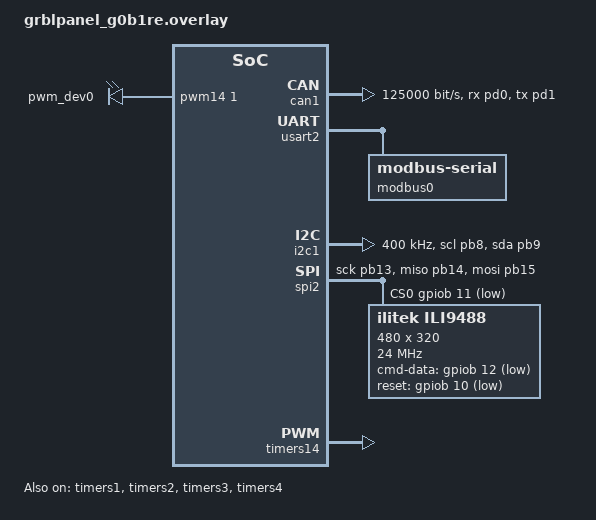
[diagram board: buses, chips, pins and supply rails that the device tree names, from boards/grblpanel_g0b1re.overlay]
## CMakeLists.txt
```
cmake_minimum_required(VERSION 3.20.0)

# Path to out-of-tree boards definitions
set (BOARD_ROOT "${CMAKE_CURRENT_SOURCE_DIR}")

# Add our custom Zephyr module for drivers w/ syscalls, etc.
list(APPEND DTS_ROOT ${CMAKE_CURRENT_SOURCE_DIR}/drivers/zephyr)

list(APPEND ZEPHYR_EXTRA_MODULES
  ${CMAKE_CURRENT_SOURCE_DIR}/drivers
)

find_package(Zephyr REQUIRED HINTS $ENV{ZEPHYR_BASE})
project(grblPANEL)

FILE(GLOB app_sources src/*.c*)
target_sources(app PRIVATE ${app_sources})
target_include_directories(app PRIVATE src)
```

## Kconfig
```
mainmenu "MYAPP"

source "Kconfig.zephyr"
config MYAPP_STM32
  default n
  bool
    select USE_STM32_LL_GPIO
    select USE_STM32_LL_TIM

#rsource "drivers/Kconfig"
```

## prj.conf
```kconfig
# Logging
CONFIG_LOG=y
CONFIG_LOG_MODE_MINIMAL=y

# floating point for axis position output
CONFIG_CBPRINTF_FP_SUPPORT=y

# i2c needed for IO expander (local driver)
CONFIG_I2C=y

# Modbus
CONFIG_SERIAL=y
CONFIG_UART_INTERRUPT_DRIVEN=y
CONFIG_MODBUS=y
CONFIG_MODBUS_ROLE_SERVER=y

# Display
CONFIG_SPI=y
CONFIG_ILI9488=y

CONFIG_DISPLAY=y
CONFIG_LVGL=y

CONFIG_LV_USE_LABEL=y
CONFIG_LV_MEM_CUSTOM=y
CONFIG_LV_USE_LOG=y
CONFIG_LV_USE_THEME_DEFAULT=y
CONFIG_LV_THEME_DEFAULT_DARK=y
CONFIG_LV_Z_MEM_POOL_NUMBER_BLOCKS=8

CONFIG_MAIN_STACK_SIZE=2048

CONFIG_PWM=y

# DMA config for SPI display
CONFIG_DMA=y
CONFIG_SPI_STM32_DMA=y
CONFIG_SPI_STM32_INTERRUPT=n
CONFIG_SPI_ASYNC=y

# Ring buffer for GPIO matrix keypad
CONFIG_RING_BUFFER=y

# Encoder support (out of tree driver)
CONFIG_SENSOR=y
CONFIG_SENSOR_LOG_LEVEL_DBG=y

CONFIG_ENCODER_STM32=y

# Produce debug builds
CONFIG_DEBUG=y
```

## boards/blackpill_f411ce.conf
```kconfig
# Uncomment below for USB CDC ACM console output on blackpill (defaults to usart1)

#CONFIG_USB_DEVICE_STACK=y
#CONFIG_USB_DEVICE_PRODUCT="Zephyr CDC ACM console"
#CONFIG_UART_INTERRUPT_DRIVEN=y
#CONFIG_UART_LINE_CTRL=y
```

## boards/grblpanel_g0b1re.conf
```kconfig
# Add USB console support
#CONFIG_USB_DEVICE_STACK=y
#CONFIG_USB_DEVICE_PRODUCT="Zephyr CDC ACM shell"
#CONFIG_UART_INTERRUPT_DRIVEN=y
#CONFIG_UART_LINE_CTRL=y

# Segger RTT console support
#CONFIG_USE_SEGGER_RTT=y
#CONFIG_RTT_CONSOLE=n
#CONFIG_UART_CONSOLE=y

#CONFIG_SHELL=y

CONFIG_CAN=y
```

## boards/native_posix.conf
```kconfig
CONFIG_LV_COLOR_DEPTH_32=y
CONFIG_GPIO=y
CONFIG_CAN=y
```

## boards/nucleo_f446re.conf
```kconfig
#CONFIG_CAN=y
#CONFIG_CAN_STM32=y
#CONFIG_CAN_INIT_PRIORITY=80
#CONFIG_CAN_MAX_FILTER=5
```

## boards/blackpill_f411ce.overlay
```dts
/*
 * Copyright (c) 2020 Phytec Messtechnik GmbH
 *
 * SPDX-License-Identifier: Apache-2.0
 */

#include <dt-bindings/display/ili9xxx.h>

&dma2 {
    status = "okay";
};

// &spi1 {
//         status = "okay";
//         cs-gpios = <&gpioa 4 GPIO_ACTIVE_LOW>;

//         dmas = <&dma2 5 3 0x28440 0x03>,
//                <&dma2 2 3 0x28480 0x03>;
//         dma-names = "tx", "rx";

//         // ili9488@0 {
//         //         compatible = "ilitek,ili9488";
//         //         label = "DISPLAY";
//         //         spi-max-frequency = <25000000>;
//         //         reg = <0>;
//         //         cmd-data-gpios = <&gpiob 15 (GPIO_ACTIVE_LOW)>;
//         //         reset-gpios = <&gpiob 14 (GPIO_ACTIVE_LOW)>;
//         //         pixel-format = <ILI9XXX_PIXEL_FORMAT_RGB888>;
//         //         rotation = <270>;
//         //         frmctr1 = [a0 11];
//         //         pwctrl1 = [17 15];
//         //         pwctrl2 = [41];
//         //         pgamctrl = [00 03 09 08 16 0a 3f 78 4c 09 0a 08 16 1a 0f];
//         //         ngamctrl = [00 16 19 03 0f 05 32 45 46 04 0e 0d 35 37 0f];
//         // };
// };

&usart2 {
    pinctrl-0 = <&usart2_tx_pa2 &usart2_rx_pa3>;
    status = "okay";
    current-speed = <115200>;

    modbus0 {
        compatible = "zephyr,modbus-serial";
        label = "MODBUS0";
        status = "okay";
    };
};

&usart1 {
    status = "okay";
    current-speed = <115200>;
};

&i2c1 {
    label = "KEYPAD";
};

/ {
    zephyr,user {
        keyevent-gpios = <&gpiob 13 (GPIO_ACTIVE_LOW | GPIO_PULL_UP)>;

    };
};

// Below for USB CDC ACM console output, defaults to usart1...
//
/// {
//    chosen {
//            zephyr,console = &cdc_acm_uart0;
//    };
//};
//
//&usbotg_fs {
//    cdc_acm_uart0: cdc_acm_uart0 {
//        compatible = "zephyr,cdc-acm-uart";
//        label = "CDC_ACM_0";
//    };
//};
```

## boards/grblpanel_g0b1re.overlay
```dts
/*
 * Copyright (c) 2020 Phytec Messtechnik GmbH
 *
 * SPDX-License-Identifier: Apache-2.0
 */

 #include <zephyr/dt-bindings/sensor/qdec_stm32.h>
 //#include <zephyr/dt-bindings/clock/stm32g0_clock.h>
 #include <dt-bindings/display/ili9xxx.h>

 &dma1 {
     status = "okay";
 };

 &dmamux1 {
    status = "okay";
};

&can1 {
    pinctrl-0 = <&fdcan1_rx_pd0 &fdcan1_tx_pd1>;
    pinctrl-names = "default";
    bus-speed = <125000>;
    bus-speed-data = <125000>;
    status = "okay";
};

// ModBus on USART2
&usart2 {
    modbus0 {
        compatible = "zephyr,modbus-serial";
        status = "okay";
    };
};

// Keypad via ADP5589 IO expander on I2C1
keypad: &i2c1 {
    pinctrl-0 = <&i2c1_scl_pb8 &i2c1_sda_pb9>;
    pinctrl-names = "default";
    status = "okay";
    clock-frequency = <I2C_BITRATE_FAST>;
};

// ILI9488 display on SPI2
&spi2 {
    cs-gpios = <&gpiob 11 GPIO_ACTIVE_LOW>;

    pinctrl-0 = <&spi2_sck_pb13 &spi2_miso_pb14 &spi2_mosi_pb15>;
    pinctrl-names = "default";

    dmas = <&dmamux1 0 19 0x28440>,
    <&dmamux1 1 18 0x28480>;
    dma-names = "tx", "rx";

    ili9488: ili9488@0 {
        compatible = "ilitek,ili9488";
        spi-max-frequency = <24000000>;
        reg = <0>;
        cmd-data-gpios = <&gpiob 12 (GPIO_ACTIVE_LOW)>;
        reset-gpios = <&gpiob 10 (GPIO_ACTIVE_LOW)>;
        pixel-format = <ILI9XXX_PIXEL_FORMAT_RGB888>;
        height = <320>;
        width = <480>;
        rotation = <270>;
        frmctr1 = [a0 11];
        pwctrl1 = [17 15];
        pwctrl2 = [41];
        pgamctrl = [00 03 09 08 16 0a 3f 78 4c 09 0a 08 16 1a 0f];
        ngamctrl = [00 16 19 03 0f 05 32 45 46 04 0e 0d 35 37 0f];
    };

    status = "okay";
};

// Timers for quadrature encoder inputs
// note: using out of tree encoder driver
//
&timers1 {
    status = "okay";

    encoder1: encoder1 {
        status = "okay";
        compatible = "st,stm32-encoder";
        pinctrl-0 = <&tim1_ch1_pa8 &tim1_ch2_pa9>;
        pinctrl-names = "default";
        st,input-filter-level = <FDIV1_N2>;
        //st,encoder-mode = <2>;
        //st,max-counter-value = <32767>;
        //st,input-polarity-inverted;
    };
};

&timers2 {
    status = "okay";

    encoder4: encoder4 {
        status = "okay";
        compatible = "st,stm32-encoder";
        pinctrl-0 = <&tim2_ch1_pa0 &tim2_ch2_pa1>;
        pinctrl-names = "default";
        st,input-filter-level = <FDIV1_N2>;
        //st,encoder-mode = <2>;
        //st,max-counter-value = <32767>;
        //st,input-polarity-inverted;
    };
};

&timers3 {
    status = "okay";

    encoder3: encoder3 {
        status = "okay";
        compatible = "st,stm32-encoder";
        pinctrl-0 = <&tim3_ch1_pa6 &tim3_ch2_pa7>;
        pinctrl-names = "default";
        st,input-filter-level = <FDIV1_N2>;
        //st,encoder-mode = <2>;
        //st,max-counter-value = <32767>;
        //st,input-polarity-inverted;
    };
};

&timers4 {
    status = "okay";

    encoder2: encoder2 {
        status = "okay";
        compatible = "st,stm32-encoder";
        pinctrl-0 = <&tim4_ch1_pb6 &tim4_ch2_pb7>;
        pinctrl-names = "default";
        st,input-filter-level = <FDIV1_N2>;
        //st,encoder-mode = <2>;
        //st,max-counter-value = <32767>;
        //st,input-polarity-inverted;
    };
};

// PWM device for display backlight
// https://medium.com/home-wireless/using-a-pwm-device-in-zephyr-7100d089f15c
&timers14 {
    st,prescaler = <10000>;
    status = "okay";
    pwm14: pwm {
        status = "okay";
        pinctrl-0 = <&tim14_ch1_pb1>;
        pinctrl-names = "default";
    };
};
/{
    pwmdevs {
        compatible = "pwm-leds";
        pwm_dev0: pwm_dev_0 {
            pwms=<&pwm14 1 2000 PWM_POLARITY_NORMAL>;
        };
    };
};

 

/ {
    // note the zephyr lvgl libraries expect a 'chosen' display
    chosen {
        zephyr,display = &ili9488;
    };
};
```

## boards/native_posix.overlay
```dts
/*
 * Copyright (c) 2022, Basalte bv
 *
 * SPDX-License-Identifier: Apache-2.0
 */

 &sdl_dc {
    compatible = "zephyr,sdl-dc";
    height = <320>;
    width = <480>;
};

&can_loopback0 {
    status = "disabled";
};

&can0 {
    status = "okay";
    host-interface = "can0";
    bus-speed = <125000>;
};

&uart0 {
    status = "okay";

    modbus0: modbus0 {
        compatible = "zephyr,modbus-serial";
        status = "okay";
    };
};

/ {
    // note the zephyr libraries expect a 'chosen' display (is set in native_posix.dts)
    chosen {
        zephyr,canbus = &can0;
        zephyr,modbus-serial = &modbus0;
    };

    aliases {
        sw0 = &button0;
    };

    keys {
        compatible = "gpio-keys";
        button0: button0 {
            /* gpio0 pin 0 is already aliased to led0 */
            gpios = <&gpio0 1 GPIO_ACTIVE_HIGH>;
        };
    };
};

&gpio0 {
    ngpios = <2>;

    sdl_gpio {
        status = "okay";
        compatible = "zephyr,gpio-emul-sdl";
        /* Skip pin 0 with the unknown code 0 */
        scancodes = <0 21>;
    };
};
```

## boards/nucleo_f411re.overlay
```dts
/*
 * Copyright (c) 2020 Phytec Messtechnik GmbH
 *
 * SPDX-License-Identifier: Apache-2.0
 */

#include <dt-bindings/display/ili9xxx.h>

&dma1 {
    status = "okay";
};

&spi2 {
        status = "okay";

        cs-gpios = <&gpiob 12 GPIO_ACTIVE_LOW>;

        pinctrl-0 = < &spi2_sck_pb13
                      &spi2_miso_pb14
                      &spi2_mosi_pb15>;

        dmas = <&dma1 4 0 0x28440 0x03>,
               <&dma1 3 0 0x28480 0x03>;
        dma-names = "tx", "rx";

        ili9488@0 {
                compatible = "ilitek,ili9488";
                label = "DISPLAY";
                spi-max-frequency = <25000000>;
                reg = <0>;
                cmd-data-gpios = <&gpioc 12 (GPIO_ACTIVE_LOW)>;
                reset-gpios = <&gpioc 11 (GPIO_ACTIVE_LOW)>;
                pixel-format = <ILI9XXX_PIXEL_FORMAT_RGB888>;
                rotation = <270>;
                frmctr1 = [a0 11];
                pwctrl1 = [17 15];
                pwctrl2 = [41];
                pgamctrl = [00 03 09 08 16 0a 3f 78 4c 09 0a 08 16 1a 0f];
                ngamctrl = [00 16 19 03 0f 05 32 45 46 04 0e 0d 35 37 0f];
        };
};

&usart1 {
    status = "okay";

    pinctrl-0 = < &usart1_tx_pa9
                  &usart1_rx_pa10 >;

    modbus0 {
        compatible = "zephyr,modbus-serial";
        label = "MODBUS0";
        status = "okay";
    };
};

// / {
//     zephyr,user {
//         row1-gpios  = <&gpiob 0  ( GPIO_OPEN_SOURCE )>;
//         row2-gpios  = <&gpiob 1  ( GPIO_OPEN_SOURCE )>;
//         row3-gpios  = <&gpiob 2  ( GPIO_OPEN_SOURCE )>;
//         row4-gpios  = <&gpiob 8  ( GPIO_OPEN_SOURCE )>;
//         row5-gpios  = <&gpiob 9  ( GPIO_OPEN_SOURCE )>;
//         row6-gpios  = <&gpiob 10 ( GPIO_OPEN_SOURCE )>;
//         col1-gpios  = <&gpioc 0  ( GPIO_ACTIVE_HIGH | GPIO_PULL_DOWN )>;
//         col2-gpios  = <&gpioc 1  ( GPIO_ACTIVE_HIGH | GPIO_PULL_DOWN )>;
//         col3-gpios  = <&gpioc 2  ( GPIO_ACTIVE_HIGH | GPIO_PULL_DOWN )>;
//         col4-gpios  = <&gpioc 3  ( GPIO_ACTIVE_HIGH | GPIO_PULL_DOWN )>;
//         col5-gpios  = <&gpioc 4  ( GPIO_ACTIVE_HIGH | GPIO_PULL_DOWN )>;
//         col6-gpios  = <&gpioc 5  ( GPIO_ACTIVE_HIGH | GPIO_PULL_DOWN )>;
//         col7-gpios  = <&gpioc 6  ( GPIO_ACTIVE_HIGH | GPIO_PULL_DOWN )>;
//         col8-gpios  = <&gpioc 7  ( GPIO_ACTIVE_HIGH | GPIO_PULL_DOWN )>;
//         col9-gpios  = <&gpioc 8  ( GPIO_ACTIVE_HIGH | GPIO_PULL_DOWN )>;
//         col10-gpios = <&gpioc 9  ( GPIO_ACTIVE_HIGH | GPIO_PULL_DOWN )>;
//         col11-gpios = <&gpioc 10 ( GPIO_ACTIVE_HIGH | GPIO_PULL_DOWN )>;
//     };
// };
```

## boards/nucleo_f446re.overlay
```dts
/*
 * Copyright (c) 2020 Phytec Messtechnik GmbH
 *
 * SPDX-License-Identifier: Apache-2.0
 */

 #include <dt-bindings/display/ili9xxx.h>

 &dma1 {
     status = "okay";
 };
 
 &spi2 {
         status = "okay";
 
         cs-gpios = <&gpiob 12 GPIO_ACTIVE_LOW>;
 
         pinctrl-0 = < &spi2_sck_pb13
                       &spi2_miso_pb14
                       &spi2_mosi_pb15>;
         pinctrl-names = "default";

        //  dmas = <&dma1 4 0 0x28440 0x03>,
        //         <&dma1 3 0 0x28480 0x03>;
        //  dma-names = "tx", "rx";
 
         ili9488: ili9488@0 {
                 compatible = "ilitek,ili9488";
                 label = "DISPLAY";
                 spi-max-frequency = <25000000>;
                 reg = <0>;
                 cmd-data-gpios = <&gpioc 12 (GPIO_ACTIVE_LOW)>;
                 reset-gpios = <&gpioc 11 (GPIO_ACTIVE_LOW)>;
                 pixel-format = <ILI9XXX_PIXEL_FORMAT_RGB888>;
                 height = <320>;
                 width = <480>;
                 rotation = <90>;
                 frmctr1 = [a0 11];
                 pwctrl1 = [17 15];
                 pwctrl2 = [41];
                 pgamctrl = [00 03 09 08 16 0a 3f 78 4c 09 0a 08 16 1a 0f];
                 ngamctrl = [00 16 19 03 0f 05 32 45 46 04 0e 0d 35 37 0f];
         };
 };

&usart1 {
    status = "okay";

    pinctrl-0 = < &usart1_tx_pa9
                  &usart1_rx_pa10 >;

    modbus0 {
        compatible = "zephyr,modbus-serial";
        //label = "MODBUS0";
        status = "okay";
    };
};

&i2c1 {
    status = "okay";
};

// &can1 {
//     status = "okay";
// };

&timers2 {
    status = "okay";

    encoder1: encoder1 {
        status = "okay";
        compatible = "st,stm32-encoder";
        pinctrl-0 = <&tim2_ch1_pa0 &tim2_ch2_pa1>;
        pinctrl-names = "default";
        st,input-filter-level = <FDIV1_N2>;
        //st,encoder-mode = <2>;
        //st,max-counter-value = <32767>;
        //st,input-polarity-inverted;
    };
};

&timers3 {
    status = "okay";

    encoder2: encoder2 {
        status = "okay";
        compatible = "st,stm32-encoder";
        pinctrl-0 = <&tim3_ch1_pa6 &tim3_ch2_pa7>;
        pinctrl-names = "default";
        st,input-filter-level = <FDIV1_N2>;
        //st,encoder-mode = <2>;
        //st,max-counter-value = <32767>;
        //st,input-polarity-inverted;
    };
};

/ {
    // note the zephyr lvgl libraries expect a 'chosen' display
    chosen {
        zephyr,display = &ili9488;
    };

    aliases {
        //my-canbus = &can1;
        my-encoder1 = &encoder1;
        my-encoder2 = &encoder2;
        //my-modbus = &modbus0;
    };
};
```

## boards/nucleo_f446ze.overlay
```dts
/*
 * Copyright (c) 2020 Phytec Messtechnik GmbH
 *
 * SPDX-License-Identifier: Apache-2.0
 */

#include <dt-bindings/display/ili9xxx.h>

&dma2 {
    status = "okay";
};

&spi1 {
        status = "okay";
        cs-gpios = <&gpioa 4 GPIO_ACTIVE_LOW>;

        dmas = <&dma2 5 3 0x28440 0x03>,
               <&dma2 2 3 0x28480 0x03>;
        dma-names = "tx", "rx";

        ili9488@0 {
                compatible = "ilitek,ili9488";
                label = "DISPLAY";
                spi-max-frequency = <21000000>;
                reg = <0>;
                cmd-data-gpios = <&gpiod 15 (GPIO_ACTIVE_LOW)>;
                reset-gpios = <&gpiod 14 (GPIO_ACTIVE_LOW)>;
                pixel-format = <ILI9XXX_PIXEL_FORMAT_RGB888>;
                rotation = <270>;
                frmctr1 = [a0 11];
                pwctrl1 = [17 15];
                pwctrl2 = [41];
                pgamctrl = [00 03 09 08 16 0a 3f 78 4c 09 0a 08 16 1a 0f];
                ngamctrl = [00 16 19 03 0f 05 32 45 46 04 0e 0d 35 37 0f];
        };
};

&usart2 {
    status = "okay";

    modbus0 {
        compatible = "zephyr,modbus-serial";
        label = "MODBUS0";
        status = "okay";
    };
};

&i2c1 {
    label = "KEYPAD";
};

/ {
    zephyr,user {
        keyevent-gpios = <&gpiob 13 (GPIO_ACTIVE_LOW | GPIO_PULL_UP)>;

    };
};
```

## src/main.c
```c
#include <main.h>

#include <zephyr/logging/log.h>
LOG_MODULE_REGISTER(panel, LOG_LEVEL_INF);

// globals
panel_keydata_1_t   panel_keydata_1;
panel_keydata_2_t   panel_keydata_2;
panel_keydata_3_t   panel_keydata_3;
panel_keydata_4_t   panel_keydata_4;
panel_keydata_5_t   panel_keydata_5;
panel_displaydata_t panel_displaydata;

// mutex for accessing the global data structures
struct k_mutex paneldata_mutex;


#define PWM_BACKLIGHT_NODE DT_NODELABEL(pwm_dev0)
#if (DT_NODE_EXISTS(PWM_BACKLIGHT_NODE))
#define PANEL_BACKLIGHT 1
#endif

void main(void)
{
    //static uint16_t q, q1, q2, q3, q4; // temporary quadrature encoder values for debug output

    k_mutex_init(&paneldata_mutex);

#ifdef PANEL_BACKLIGHT
    // PWM backlight control
    static const struct pwm_dt_spec pwm_backlight = PWM_DT_SPEC_GET(PWM_BACKLIGHT_NODE);
    if (device_is_ready(pwm_backlight.dev)) {
        uint32_t period = PWM_MSEC(10);
        pwm_set_dt(&pwm_backlight, period, period/2);
    }
#endif

#ifdef CONFIG_USB_CDC_ACM

    // Enable USB CDC ACM device for shell output
    const struct device *const dev_usb = DEVICE_DT_GET(DT_CHOSEN(zephyr_shell_uart));
    uint32_t dtr = 0;

    if (!device_is_ready(dev_usb)) {
        LOG_ERR("CDC ACM device not ready");
        return;
    }

    int ret = usb_enable(NULL);

    if (ret != 0) {
        LOG_ERR("Failed to enable USB");
        return;
    }

    /* Poll if the DTR flag was set */
    // LOG_ERR("USB device has been enabled, polling DTR...");
    // while (!dtr) {
    //     uart_line_ctrl_get(dev_usb, UART_LINE_CTRL_DTR, &dtr);
    //     /* Give CPU resources to low priority threads. */
    //     k_sleep(K_MSEC(100));
    // }
    // LOG_ERR("DTR ready...");

#endif

    LOG_INF("Hello World :) ...! %s", CONFIG_BOARD);


#if PANEL_DISPLAY
    if (display_init()) {
        LOG_ERR("Error initialising display device.%s", "");
    }
#endif

#if PANEL_KEYPAD
    if (keypad_init()) {
        LOG_ERR("Error initialising keypad device.%s", "");
    }
#endif

#if PANEL_ENCODER
    quadrature_init();
#endif

#if PANEL_MODBUS
    if (modbus_init()) {
        LOG_ERR("Modbus RTU server initialization failed.%s", "");
    }
#endif

#if PANEL_CANBUS
    if (canbus_init()) {
        LOG_ERR("CAN bus initialization failed.%s", "");
    }
#endif

    while (1) {

#if PANEL_KEYPAD
        keypad_process_events();
#endif

#if PANEL_DISPLAY
        display_update_values();
        display_update();
#endif

// // testing
// #if PANEL_KEYPAD
//         keypad_reset_flags(); // allow queued events to be processed
// #endif

// // testing
//         k_msleep(100);
//         q = quadrature_get_value(1);
//         if (q1 != q) {
//             printk("Enc1: %u\n", q);
//             q1 = q;
//         }
//         q = quadrature_get_value(2);
//         if (q2 != q) {
//             printk("Enc2: %u\n", q);
//             q2 = q;
//         }
//         q = quadrature_get_value(3);
//         if (q3 != q) {
//             printk("Enc3: %u\n", q);
//             q3 = q;
//         }
//         q = quadrature_get_value(4);
//         if (q4 != q) {
//             printk("Enc4: %u\n", q);
//             q4 = q;
//         }



        k_yield();
    }
}
```

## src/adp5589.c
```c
#include <main.h>
#include <adp5589.h>

#if PANEL_KEYPAD

#include <zephyr/logging/log.h>
LOG_MODULE_DECLARE(panel, LOG_LEVEL_INF);

#define ZEPHYR_USER_NODE DT_PATH(zephyr_user)
#if DT_NODE_HAS_PROP(ZEPHYR_USER_NODE, keyevent_gpios)
const struct gpio_dt_spec keyevent =
        GPIO_DT_SPEC_GET(ZEPHYR_USER_NODE, keyevent_gpios);
#define KEYPAD_EVENT_INTERRUPT
#endif

const struct device *const i2c_dev = DEVICE_DT_GET(KEYPAD_NODE);

int8_t adp5589_init(void)
{
    uint8_t rc;

     // Set up I2C
    //i2c_dev = device_get_binding("KEYPAD");
    if (i2c_dev == NULL)
    {
        LOG_ERR("Keypad devicetree binding not found");
        return -1;
    }

#ifdef KEYPAD_EVENT_INTERRUPT
    // Configure the event interrupt pin
    gpio_pin_configure_dt(&keyevent, GPIO_INPUT);
#endif

    // Configuration
    uint32_t i2c_cfg = I2C_SPEED_SET(I2C_SPEED_STANDARD) | I2C_MODE_CONTROLLER;
    if (i2c_configure(i2c_dev, i2c_cfg))
    {
        LOG_ERR("Keypad i2c config failed");
        return -1;
    }

    // Check device responds with expected device id
    rc = (adp5589_get_register_value(ADP5589_ADR_ID) & ADP5589_ID_MAN_ID);
    if (rc != ADP5589_ID) {
        LOG_ERR("ADP5589 IO expander not found");
        return -1;
    }

    // Enable internal oscillator and set clock frequency to 500 kHz
    adp5589_set_register_value(ADP5589_ADR_GENERAL_CFG_B,
                               ADP5589_GENERAL_CFG_B_OSC_EN |
                               ADP5589_GENERAL_CFG_B_CORE_FREQ(ADP5589_GENERAL_CFG_B_CORE_FREQ_500KHZ));

#if KEYPAD_ROWS && KEYPAD_COLS
    // Enable matrix keypad decoding for the requested columns and rows, up to 8 defined in A & B registers
    adp5589_set_register_value(ADP5589_ADR_PIN_CONFIG_A, KEY_PINMAP(MIN(KEYPAD_ROWS, 8)));
    adp5589_set_register_value(ADP5589_ADR_PIN_CONFIG_B, KEY_PINMAP(MIN(KEYPAD_COLS, 8)));

    // Add support for the maximum of 11 columns, the last three column bits are set in the C register
#if KEYPAD_COLS > 8
    adp5589_set_register_value(ADP5589_ADR_PIN_CONFIG_C, KEY_PINMAP(MIN(KEYPAD_COLS-8, 3)));
#endif
#endif

#ifdef KEYPAD_EVENT_INTERRUPT
    // Enable the interrupt pin to signal keypad events available
    adp5589_set_register_value(ADP5589_ADR_INT_EN, ADP5589_INT_EN_EVENT_IEN);
#endif

    return 0; // todo: check i2c return values
}

uint8_t adp5589_get_register_value(uint8_t register_address)
{
    static uint8_t write_data[2]  = {0};
    static uint8_t read_data[2]   = {0};
    static uint8_t register_value = 0;

    write_data[0] = register_address;
    i2c_write(i2c_dev, write_data, 1, ADP5589_ADDRESS);
    i2c_read(i2c_dev, read_data, 1, ADP5589_ADDRESS);
    register_value = read_data[0];

    return register_value; // todo: check i2c return values
}

uint8_t adp5589_get_register_values(uint8_t register_address, uint8_t *register_data, uint8_t register_count)
{
    static uint8_t write_data[2]   = {0, 0};

    write_data[0] = register_address;
    i2c_write(i2c_dev, write_data, 1, ADP5589_ADDRESS);
    i2c_read(i2c_dev, register_data, register_count, ADP5589_ADDRESS);

    return register_count; // todo: check i2c return values
}

void adp5589_set_register_value(uint8_t register_address, uint8_t register_value)
{
    static uint8_t write_data[2] = {0, 0};

    write_data[0] = register_address;
    write_data[1] = register_value;
    i2c_write(i2c_dev, write_data, 2, ADP5589_ADDRESS); // todo: check i2c return values
}

int8_t adp5589_get_event_count(void)
{
#ifdef KEYPAD_EVENT_INTERRUPT
    if (gpio_pin_get(keyevent.port, keyevent.pin)) {
        // Events available (note that the pin is defined as active low)

        // Clear the event interrupt
        adp5589_set_register_value(ADP5589_ADR_INT_STATUS, ADP5589_INT_STATUS_EVENT_INT);

        // Return the event count
        return ADP5589_STATUS_EC(adp5589_get_register_value(ADP5589_ADR_STATUS));

    } else {
        // No pending events
        return 0;
    }
#else
    // Return the event count
    return ADP5589_STATUS_EC(adp5589_get_register_value(ADP5589_ADR_STATUS));
#endif
}

#endif //PANEL_KEYPAD
```

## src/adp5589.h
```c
/*
 * ADP5589 register definitions lifted from Analog Devices no-OS driver
 */

#ifndef __ADP5589_H__
#define __ADP5589_H__

#include <zephyr/drivers/i2c.h>
#include <zephyr/drivers/gpio.h>

#define KEYPAD_NODE DT_NODELABEL(keypad)

#if (DT_NODE_EXISTS(KEYPAD_NODE))
#define PANEL_KEYPAD    1
#endif

//
// Function declarations
//
int8_t  adp5589_init(void);
uint8_t adp5589_get_register_value(uint8_t);
uint8_t adp5589_get_register_values(uint8_t, uint8_t *, uint8_t);
void    adp5589_set_register_value(uint8_t, uint8_t);
int8_t  adp5589_get_event_count(void);

//
// Helpder defines
//

#define PMOD_IOXP_J1                           0    // J1 port of PmodIOXP
#define PMOD_IOXP_J2                           1    // J2 port of PmodIOXP
#define ADP5589_ADDRESS                     0x34    // I2C Address
#define ADP5589_ID                          0x10    // Manufacturer ID

#define KEY_CODE(x)           (((x) & 0x7F) << 0)   // key identifier (strip out pressed state)
#define KEY_PRESSED(x)          ((x & 0x80) != 0)   // key is pressed (pressed state only)
#define KEY_PINMAP(x) ((1<<(x-1))|((1<<(x-1))-1))   // shift 1 into lower x bits (used for setting the pin config registers)

//
// Register address definitions
//

#define ADP5589_ADR_ID                   0x00
#define ADP5589_ADR_INT_STATUS           0x01
#define ADP5589_ADR_STATUS               0x02
#define ADP5589_ADR_FIFO1                0x03
#define ADP5589_ADR_FIFO2                0x04
#define ADP5589_ADR_FIFO3                0x05
#define ADP5589_ADR_FIFO4                0x06
#define ADP5589_ADR_FIFO5                0x07
#define ADP5589_ADR_FIFO6                0x08
#define ADP5589_ADR_FIFO7                0x09
#define ADP5589_ADR_FIFO8                0x0A
#define ADP5589_ADR_FIFO9                0x0B
#define ADP5589_ADR_FIFO10               0x0C
#define ADP5589_ADR_FIFO11               0x0D
#define ADP5589_ADR_FIFO12               0x0E
#define ADP5589_ADR_FIFO13               0x0F
#define ADP5589_ADR_FIFO14               0x10
#define ADP5589_ADR_FIFO15               0x11
#define ADP5589_ADR_FIFO16               0x12
#define ADP5589_ADR_GPI_INT_STATUS_A     0x13
#define ADP5589_ADR_GPI_INT_STATUS_B     0x14
#define ADP5589_ADR_GPI_INT_STATUS_C     0x15
#define ADP5589_ADR_GPI_STATUS_A         0x16
#define ADP5589_ADR_GPI_STATUS_B         0x17
#define ADP5589_ADR_GPI_STATUS_C         0x18
#define ADP5589_ADR_RPULL_CONFIG_A       0x19
#define ADP5589_ADR_RPULL_CONFIG_B       0x1A
#define ADP5589_ADR_RPULL_CONFIG_C       0x1B
#define ADP5589_ADR_RPULL_CONFIG_D       0x1C
#define ADP5589_ADR_RPULL_CONFIG_E       0x1D
#define ADP5589_ADR_GPI_INT_LEVEL_A      0x1E
#define ADP5589_ADR_GPI_INT_LEVEL_B      0x1F
#define ADP5589_ADR_GPI_INT_LEVEL_C      0x20
#define ADP5589_ADR_GPI_EVENT_EN_A       0x21
#define ADP5589_ADR_GPI_EVENT_EN_B       0x22
#define ADP5589_ADR_GPI_EVENT_EN_C       0x23
#define ADP5589_ADR_GPI_INTERRUPT_EN_A   0x24
#define ADP5589_ADR_GPI_INTERRUPT_EN_B   0x25
#define ADP5589_ADR_GPI_INTERRUPT_EN_C   0x26
#define ADP5589_ADR_DEBOUNCE_DIS_A       0x27
#define ADP5589_ADR_DEBOUNCE_DIS_B       0x28
#define ADP5589_ADR_DEBOUNCE_DIS_C       0x29
#define ADP5589_ADR_GPO_DATA_OUT_A       0x2A
#define ADP5589_ADR_GPO_DATA_OUT_B       0x2B
#define ADP5589_ADR_GPO_DATA_OUT_C       0x2C
#define ADP5589_ADR_GPO_OUT_MODE_A       0x2D
#define ADP5589_ADR_GPO_OUT_MODE_B       0x2E
#define ADP5589_ADR_GPO_OUT_MODE_C       0x2F
#define ADP5589_ADR_GPIO_DIRECTION_A     0x30
#define ADP5589_ADR_GPIO_DIRECTION_B     0x31
#define ADP5589_ADR_GPIO_DIRECTION_C     0x32
#define ADP5589_ADR_UNLOCK1              0x33
#define ADP5589_ADR_UNLOCK2              0x34
#define ADP5589_ADR_EXT_LOCK_EVENT       0x35
#define ADP5589_ADR_UNLOCK_TIMERS        0x36
#define ADP5589_ADR_LOCK_CFG             0x37
#define ADP5589_ADR_RESET1_EVENT_A       0x38
#define ADP5589_ADR_RESET1_EVENT_B       0x39
#define ADP5589_ADR_RESET1_EVENT_C       0x3A
#define ADP5589_ADR_RESET2_EVENT_A       0x3B
#define ADP5589_ADR_RESET2_EVENT_B       0x3C
#define ADP5589_ADR_RESET_CFG            0x3D
#define ADP5589_ADR_PWM_OFFT_LOW         0x3E
#define ADP5589_ADR_PWM_OFFT_HIGH        0x3F
#define ADP5589_ADR_PWM_ONT_LOW          0x40
#define ADP5589_ADR_PWM_ONT_HIGH         0x41
#define ADP5589_ADR_PWM_CFG              0x42
#define ADP5589_ADR_CLOCK_DIV_CFG        0x43
#define ADP5589_ADR_LOGIC_1_CFG          0x44
#define ADP5589_ADR_LOGIC_2_CFG          0x45
#define ADP5589_ADR_LOGIC_FF_CFG         0x46
#define ADP5589_ADR_LOGIC_INT_EVENT      0x47
#define ADP5589_ADR_POLL_TIME_CFG        0x48
#define ADP5589_ADR_PIN_CONFIG_A         0x49
#define ADP5589_ADR_PIN_CONFIG_B         0x4A
#define ADP5589_ADR_PIN_CONFIG_C         0x4B
#define ADP5589_ADR_PIN_CONFIG_D         0x4C
#define ADP5589_ADR_GENERAL_CFG_B        0x4D
#define ADP5589_ADR_INT_EN               0x4E


//
// Register Bit Mask Definitions.
//

/* ID Register bits 0x00. */
#define ADP5589_ID_MAN_ID                               (0xF0)
#define ADP5589_ID_REV_ID                               (0x0F)
/* INT_STATUS Register bits 0x01. */
#define ADP5589_INT_STATUS_EVENT_INT                    (1 << 0)
#define ADP5589_INT_STATUS_GPI_INT                      (1 << 1)
#define ADP5589_INT_STATUS_OVERFLOW_INT                 (1 << 2)
#define ADP5589_INT_STATUS_LOCK_INT                     (1 << 3)
#define ADP5589_INT_STATUS_LOGIC1_INT                   (1 << 4)
#define ADP5589_INT_STATUS_LOGIC2_INT                   (1 << 5)
/* STATUS Register bits 0x02. */
#define ADP5589_STATUS_EC(x)                            (((x) & 0x1F) << 0)
#define ADP5589_STATUS_LOCK_STAT                        (1 << 5)
#define ADP5589_STATUS_LOGIC1_STAT                      (1 << 6)
#define ADP5589_STATUS_LOGIC2_STAT                      (1 << 7)
/* INT_EN Register bits 0x4E. */
#define ADP5589_INT_EN_EVENT_IEN                        (1 << 0)
#define ADP5589_INT_EN_GPI_IEN                          (1 << 1)
#define ADP5589_INT_EN_OVERFLOW_IEN                     (1 << 2)
#define ADP5589_INT_EN_LOCK_IEN                         (1 << 3)
#define ADP5589_INT_EN_LOGIC1_INT                       (1 << 4)
#define ADP5589_INT_EN_LOGIC2_INT                       (1 << 5)
/* GENERAL_CFG_B Register bits  0x4D. */
#define ADP5589_GENERAL_CFG_B_RST_CFG                   (1 << 0)
#define ADP5589_GENERAL_CFG_B_INT_CFG                   (1 << 1)
#define ADP5589_GENERAL_CFG_B_LCK_TRK_GPI               (1 << 3)
#define ADP5589_GENERAL_CFG_B_LCK_TRK_LOGIC             (1 << 4)
#define ADP5589_GENERAL_CFG_B_CORE_FREQ(x)              (((x) & 0x03) << 5)
#define ADP5589_GENERAL_CFG_B_OSC_EN                    (1 << 7)

/* CORE_FREQ bits. */
#define ADP5589_GENERAL_CFG_B_CORE_FREQ_50KHZ           (0x00)
#define ADP5589_GENERAL_CFG_B_CORE_FREQ_100KHZ          (0x01)
#define ADP5589_GENERAL_CFG_B_CORE_FREQ_200KHZ          (0x02)
#define ADP5589_GENERAL_CFG_B_CORE_FREQ_500KHZ          (0x03)

/* PIN_CONFIG_D Register bits 0x4C. */
#define ADP5589_PIN_CONFIG_D_R0_EXTEND                  (1 << 0)
#define ADP5589_PIN_CONFIG_D_C9_EXTEND                  (1 << 1)
#define ADP5589_PIN_CONFIG_D_R3_EXTEND(x)               (((x) & 0x03) << 2)
#define ADP5589_PIN_CONFIG_D_C6_EXTEND                  (1 << 4)
#define ADP5589_PIN_CONFIG_D_R4_EXTEND                  (1 << 5)
#define ADP5589_PIN_CONFIG_D_C4_EXTEND                  (1 << 6)
#define ADP5589_PIN_CONFIG_D_PULL_SELECT                (1 << 7)
/* GPI_STATUS_A Register bits 0x16. */
#define ADP5589_GPI_STATUS_GPI_1_STAT                   (1 << 0)
#define ADP5589_GPI_STATUS_GPI_2_STAT                   (1 << 1)
#define ADP5589_GPI_STATUS_GPI_3_STAT                   (1 << 2)
#define ADP5589_GPI_STATUS_GPI_4_STAT                   (1 << 3)
#define ADP5589_GPI_STATUS_GPI_5_STAT                   (1 << 4)
#define ADP5589_GPI_STATUS_GPI_6_STAT                   (1 << 5)
#define ADP5589_GPI_STATUS_GPI_7_STAT                   (1 << 6)
#define ADP5589_GPI_STATUS_GPI_8_STAT                   (1 << 7)
/* GPI_STATUS_B Register bits 0x17. */
#define ADP5589_GPI_STATUS_GPI_9_STAT                   (1 << 0)
#define ADP5589_GPI_STATUS_GPI_10_STAT                  (1 << 1)
#define ADP5589_GPI_STATUS_GPI_11_STAT                  (1 << 2)
#define ADP5589_GPI_STATUS_GPI_12_STAT                  (1 << 3)
#define ADP5589_GPI_STATUS_GPI_13_STAT                  (1 << 4)
#define ADP5589_GPI_STATUS_GPI_14_STAT                  (1 << 5)
#define ADP5589_GPI_STATUS_GPI_15_STAT                  (1 << 6)
#define ADP5589_GPI_STATUS_GPI_16_STAT                  (1 << 7)
/* GPI_STATUS_C Register bits 0x18. */
#define ADP5589_GPI_STATUS_GPI_17_STAT                  (1 << 0)
#define ADP5589_GPI_STATUS_GPI_18_STAT                  (1 << 1)
#define ADP5589_GPI_STATUS_GPI_19_STAT                  (1 << 2)
/* GPI_EVENT_EN_A Register bits 0x21. */
#define ADP5589_GPI_EVENT_EN_GPI_1_STAT                 (1 << 0)
#define ADP5589_GPI_EVENT_EN_GPI_2_STAT                 (1 << 1)
#define ADP5589_GPI_EVENT_EN_GPI_3_STAT                 (1 << 2)
#define ADP5589_GPI_EVENT_EN_GPI_4_STAT                 (1 << 3)
#define ADP5589_GPI_EVENT_EN_GPI_5_STAT                 (1 << 4)
#define ADP5589_GPI_EVENT_EN_GPI_6_STAT                 (1 << 5)
#define ADP5589_GPI_EVENT_EN_GPI_7_STAT                 (1 << 6)
#define ADP5589_GPI_EVENT_EN_GPI_8_STAT                 (1 << 7)
/* GPI_EVENT_EN_B Register bits 0x22. */
#define ADP5589_GPI_EVENT_EN_GPI_9_STAT                 (1 << 0)
#define ADP5589_GPI_EVENT_EN_GPI_10_STAT                (1 << 1)
#define ADP5589_GPI_EVENT_EN_GPI_11_STAT                (1 << 2)
#define ADP5589_GPI_EVENT_EN_GPI_12_STAT                (1 << 3)
#define ADP5589_GPI_EVENT_EN_GPI_13_STAT                (1 << 4)
#define ADP5589_GPI_EVENT_EN_GPI_14_STAT                (1 << 5)
#define ADP5589_GPI_EVENT_EN_GPI_15_STAT                (1 << 6)
#define ADP5589_GPI_EVENT_EN_GPI_16_STAT                (1 << 7)
/* GPI_EVENT_EN_C Register bits 0x23. */
#define ADP5589_GPI_EVENT_EN_GPI_17_STAT                (1 << 0)
#define ADP5589_GPI_EVENT_EN_GPI_18_STAT                (1 << 1)
#define ADP5589_GPI_EVENT_EN_GPI_19_STAT                (1 << 2)

/* UNLOCK1 Register bits 0x33. */
#define ADP5589_UNLOCK1_UNLOCK1_STATE                   (1 << 7)
#define ADP5589_UNLOCK1_UNLOCK1_UNLOCK1(x)              (((x) & 0x7F) << 0)
/* UNLOCK2 Register bits 0x34. */
#define ADP5589_UNLOCK2_UNLOCK2_STATE                   (1 << 7)
#define ADP5589_UNLOCK2_UNLOCK2_UNLOCK2(x)              (((x) & 0x7F) << 0)
/* EXT_LOCK_EVENT Register bits 0x35. */
#define ADP5589_EXT_LOCK_EXT_LOCK_STATE                 (1 << 7)
#define ADP5589_EXT_LOCK_EXT_LOCK_EVENT(x)              (((x) & 0x7F) << 0)
/* UNLOCK_TIMERS Register bits 0x36. */
#define ADP5589_UNLOCK_TIMERS_INT_MASK_TIMER(x)         (((x) & 0xF8) << 3)
#define ADP5589_UNLOCK_TIMERS_UNLOCK_TIMER(x)           (((x) & 0x07) << 0)
/* UNLOCK_TIMER bits. */
#define ADP5589_UNLOCK_TIMER_DIS                        0
#define ADP5589_UNLOCK_TIMER_1SEC                       1
#define ADP5589_UNLOCK_TIMER_2SEC                       2
#define ADP5589_UNLOCK_TIMER_3SEC                       3
#define ADP5589_UNLOCK_TIMER_4SEC                       4
#define ADP5589_UNLOCK_TIMER_5SEC                       5
#define ADP5589_UNLOCK_TIMER_6SEC                       6
#define ADP5589_UNLOCK_TIMER_7SEC                       7
/* INT_MASK_TIMER bits. */
#define ADP5589_INT_MASTER_TIMER_DIS                    0
#define ADP5589_INT_MASTER_TIMER_1SEC                   1
#define ADP5589_INT_MASTER_TIMER_2SEC                   2
#define ADP5589_INT_MASTER_TIMER_30SEC                  (0X1E)
#define ADP5589_INT_MASTER_TIMER_31SEC                  (0X1F)
/* LOCK_CFG Register bits 0x37. */
#define ADP5589_LOCK_CFG_LOCK_EN                        (1 << 0)
/* RESET_CFG Register bits 0x3D. */
#define ADP5589_RESET_CFG_RESET_PULSE_WIDTH(x)          (((x) & 0x03) << 0)
#define ADP5589_RESET_CFG_RESET_TRIGGER_TIME(x)         (((x) & 0x07) << 2)
#define ADP5589_RESET_CFG_RST_PASSTHRU_EN               (1 << 5)
#define ADP5589_RESET_CFG_RESET1_POL                    (1 << 6)
#define ADP5589_RESET_CFG_RESET2_POL                    (1 << 7)
/* RESET_TRIGGER_TIME bits. */
#define ADP5589_RESET_CFG_RESET_TRIGGER_TIME_IMMED      0
#define ADP5589_RESET_CFG_RESET_TRIGGER_TIME_1D0SEC     1
#define ADP5589_RESET_CFG_RESET_TRIGGER_TIME_1D5SEC     2
#define ADP5589_RESET_CFG_RESET_TRIGGER_TIME_2D0SEC     3
#define ADP5589_RESET_CFG_RESET_TRIGGER_TIME_2D5SEC     4
#define ADP5589_RESET_CFG_RESET_TRIGGER_TIME_3D0SEC     5
#define ADP5589_RESET_CFG_RESET_TRIGGER_TIME_3D5SEC     6
#define ADP5589_RESET_CFG_RESET_TRIGGER_TIME_4D0SEC     7
/* RESET_PULSE_WIDTH bits. */
#define ADP5589_RESET_CFG_RESET_PULSE_WIDTH_500US       0
#define ADP5589_RESET_CFG_RESET_PULSE_WIDTH_1MS         1
#define ADP5589_RESET_CFG_RESET_PULSE_WIDTH_2MS         2
#define ADP5589_RESET_CFG_RESET_PULSE_WIDTH_10MS        3
/* PWM_CFG Register bits 0x42. */
#define ADP5589_PWM_CFG_PWM_EN                          (1 << 0)
#define ADP5589_PWM_CFG_PWM_MODE                        (1 << 1)
#define ADP5589_PWM_CFG_PWM_IN_AND                      (1 << 2)
/* CLOCK_DIV_CFG Register bits 0x43. */
#define ADP5589_CLOCK_DIV_CFG_CLK_INV                   (1 << 6)
#define ADP5589_CLOCK_DIV_CFG_CLK_DIV(x)                (((x) & 0x1F) << 1)
#define ADP5589_CLOCK_DIV_CFG_CLK_DIV_EN                (1 << 0)

/* CLK_DIV bits. */
#define ADP5589_CLOCK_DIV_CFG_CLK_DIV_DIV1              (0X00)
#define ADP5589_CLOCK_DIV_CFG_CLK_DIV_DIV2              (0X01)
#define ADP5589_CLOCK_DIV_CFG_CLK_DIV_DIV3              (0X02)
#define ADP5589_CLOCK_DIV_CFG_CLK_DIV_DIV4              (0X03)
#define ADP5589_CLOCK_DIV_CFG_CLK_DIV_DIV32             (0X1F)
/* LOGIC_1_CFG Register bits 0x44. */
#define ADP5589_LOGIC_1_CFG_LOGIC1_SEL(x)               (((x) & 0x07) << 0)
#define ADP5589_LOGIC_1_LA1_INV                         (1 << 3)
#define ADP5589_LOGIC_1_LB1_INV                         (1 << 4)
#define ADP5589_LOGIC_1_LC1_INV                         (1 << 5)
#define ADP5589_LOGIC_1_LY1_INV                         (1 << 6)
/* LOGIC1_SEL bits. */
#define ADP5589_LOGIC_CFG_LOGIC_SEL_OFF                 (0x00)
#define ADP5589_LOGIC_CFG_LOGIC_SEL_AND                 (0x01)
#define ADP5589_LOGIC_CFG_LOGIC_SEL_OR                  (0x02)
#define ADP5589_LOGIC_CFG_LOGIC_SEL_XOR                 (0x03)
#define ADP5589_LOGIC_CFG_LOGIC_SEL_FF                  (0x04)
#define ADP5589_LOGIC_CFG_LOGIC_SEL_IN_LA               (0x05)
#define ADP5589_LOGIC_CFG_LOGIC_SEL_IN_LB               (0x06)
#define ADP5589_LOGIC_CFG_LOGIC_SEL_IN_LC               (0x07)
/* LOGIC_2_CFG Register bits 0x45. */
#define ADP5589_LOGIC_2_CFG_LOGIC2_SEL(x)               (((x) & 0x07) << 0)
#define ADP5589_LOGIC_2_LA2_INV                         (1 << 3)
#define ADP5589_LOGIC_2_LB2_INV                         (1 << 4)
#define ADP5589_LOGIC_2_LC2_INV                         (1 << 5)
#define ADP5589_LOGIC_2_LY2_INV                         (1 << 6)
#define ADP5589_LOGIC_2_LY1_CASCADE                     (1 << 7)
/* LOGIC_FF_CFG Register bits 0x46. */
#define ADP5589_LOGIC_FF_CFG_FF1_CLR                    (1 << 0)
#define ADP5589_LOGIC_FF_CFG_FF1_SET                    (1 << 1)
#define ADP5589_LOGIC_FF_CFG_FF2_CLR                    (1 << 2)
#define ADP5589_LOGIC_FF_CFG_FF2_SET                    (1 << 3)
/* LOGIC_INT_EVENT_EN Register bits 0x47. */
#define ADP5589_LOGIC_INT_EVENT_EN_LOGIC1_INT_LEVEL     (1 << 0)
#define ADP5589_LOGIC_INT_EVENT_EN_LOGIC1_EVENT_EN      (1 << 1)
#define ADP5589_LOGIC_INT_EVENT_EN_LY1_DBNC_DIS         (1 << 2)
#define ADP5589_LOGIC_INT_EVENT_EN_LOGIC2_INT_LEVEL     (1 << 3)
#define ADP5589_LOGIC_INT_EVENT_EN_LOGIC2_EVENT_EN      (1 << 4)
#define ADP5589_LOGIC_INT_EVENT_EN_LY2_DBNC_DIS         (1 << 5)
/* POLL_TIME_CFG Register bits 0x48. */
#define ADP5589_POLL_TIME_CFG_KEY_POLL_TIME(x)          (((x) & 0x03) << 0)
/* KEY_POLL_TIME bits. */
#define ADP5589_POLL_TIME_CFG_KEY_POLL_TIME_10MS        (0x00)
#define ADP5589_POLL_TIME_CFG_KEY_POLL_TIME_20MS        (0x01)
#define ADP5589_POLL_TIME_CFG_KEY_POLL_TIME_30MS        (0x02)
#define ADP5589_POLL_TIME_CFG_KEY_POLL_TIME_40MS        (0x03)

#define ADP5589_EVENT_KEY_RELEASED                      0
#define ADP5589_EVENT_KEY_PRESSED                       1

#endif    /* __ADP5589_H__ */
```

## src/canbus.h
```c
/*
 * CAN bus interface functions
 */

#ifndef __CANBUS_H__
#define __CANBUS_H__

#include <zephyr/drivers/can.h>

#define CANBUS_NODE DT_CHOSEN(zephyr_canbus)

#if DT_NODE_EXISTS(CANBUS_NODE)
#define PANEL_CANBUS    1
#endif

//function declarations
int canbus_init(void);

#endif
```

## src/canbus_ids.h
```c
/*

  canbus_ids.h - CANBus identifiers for control panel support

  Part of grblHAL

  Copyright (c) 2022 Jon Escombe

  Grbl is free software: you can redistribute it and/or modify
  it under the terms of the GNU General Public License as published by
  the Free Software Foundation, either version 3 of the License, or
  (at your option) any later version.

  Grbl is distributed in the hope that it will be useful,
  but WITHOUT ANY WARRANTY; without even the implied warranty of
  MERCHANTABILITY or FITNESS FOR A PARTICULAR PURPOSE.  See the
  GNU General Public License for more details.

  You should have received a copy of the GNU General Public License
  along with Grbl.  If not, see <http://www.gnu.org/licenses/>.

*/

// fixme: conflicts with canbus_ids.h in canbus plugin, where should they live?

#define CANBUS_PANEL_STATE_1   0x110
#define CANBUS_PANEL_STATE_2   0x111
#define CANBUS_PANEL_MPOS_1    0x112
#define CANBUS_PANEL_MPOS_2    0x113
#define CANBUS_PANEL_MPOS_3    0x114
#define CANBUS_PANEL_MPOS_4    0x115

#define CANBUS_PANEL_STATUS    0x100
#define CANBUS_PANEL_KEYPAD_1  0x101
#define CANBUS_PANEL_KEYPAD_2  0x102
#define CANBUS_PANEL_ENCODER_1 0x103
#define CANBUS_PANEL_ENCODER_2 0x104
```

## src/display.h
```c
/*
 * Display interface functions
 */

#ifndef __DISPLAY_H__
#define __DISPLAY_H__

#include <zephyr/drivers/display.h>

#define DISPLAY_NODE DT_CHOSEN(zephyr_display)

#if DT_NODE_EXISTS(DT_CHOSEN(zephyr_display))
#define PANEL_DISPLAY       1
#endif

#if PANEL_DISPLAY

#include <lvgl.h>

// function protoypes
int display_init(void);
void display_update(void);
void display_update_values(void);

// grbl states, from system.h
#define STATE_IDLE          0      //!< Must be zero. No flags.
#define STATE_ALARM         1 << 0 //!< In alarm state. Locks out all g-code processes. Allows settings access.
#define STATE_CHECK_MODE    1 << 1 //!< G-code check mode. Locks out planner and motion only.
#define STATE_HOMING        1 << 2 //!< Performing homing cycle
#define STATE_CYCLE         1 << 3 //!< Cycle is running or motions are being executed.
#define STATE_HOLD          1 << 4 //!< Active feed hold
#define STATE_JOG           1 << 5 //!< Jogging mode.
#define STATE_SAFETY_DOOR   1 << 6 //!< Safety door is ajar. Feed holds and de-energizes system.
#define STATE_SLEEP         1 << 7 //!< Sleep state.
#define STATE_ESTOP         1 << 8 //!< EStop mode, reports and is mainly handled similar to alarm state
#define STATE_TOOL_CHANGE   1 << 9 //!< Manual tool change, similar to #STATE_HOLD - but stops spindle and allows jogging.

typedef enum {
    left,
    center,
    right
} display_align_t;

typedef enum {
    grbl_state = 0,
    spindle_rpm,
    spindle_load,
    spindle_override,
    feed_override,
    rapid_override,
    wcs,
    mpg_mode,
    jog_mode,
    x_axis_label,
    y_axis_label,
    z_axis_label,
    x_axis_pos,
    y_axis_pos,
    z_axis_pos,
} display_fields_t;

typedef struct {
    lv_obj_t * obj;
    display_align_t align;
    uint8_t font_size;
    uint16_t x_pos, y_pos;
    uint16_t x_size, y_size;
    char * init;
} display_item_t;

typedef struct {
    uint8_t id;
    char text[8];
} display_text_t;

#endif // PANEL_DISPLAY

#endif  // __DISPLAY_H__
```

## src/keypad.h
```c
/*
 * Keypad interface functions - abstract away any specific IO expander 
 */

#ifndef __KEYPAD_H__
#define __KEYPAD_H__

#include <adp5589.h>

// A matrix of 8x11 is supported, as this is the maximum size supported by the
// ADP5589 IO expander, there is also support for a GPIO keypad matrix, but we
// retain the same layout restrictions for compatibility.

// Keycodes range from 1 to 88 if using full 8x11 matrix, the chosen keycode mappings
// are dependent on the keypad layout in use, and are set in the appropriate header file.

// Uncomment just one mapping below (or define in IDE settings);
// #define KEYPAD_4X4
// #define KEYPAD_5X5
#define KEYPAD_6X11

// Uncomment this to use a native GPIO keypad matrix (instead of i2c IO expander)
// #define KEYPAD_GPIO_MATRIX

#include <keypad_4x4.h>
#include <keypad_5x5.h>
#include <keypad_6x11.h>
#include <keypad_defaults.h>

#define KEY_BUFFER_SIZE     16 // how many key events we can queue

// function protoypes
int keypad_init(void);
int keypad_get_event_count(void);
int keypad_get_events(uint8_t *, uint8_t);
int keypad_process_events(void);
uint16_t keypad_get_value(uint8_t);
void keypad_reset_flags(void);

#endif
```

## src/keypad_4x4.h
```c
#ifndef __KEYPAD_4X4_H__
#define __KEYPAD_4X4_H__

#ifdef KEYPAD_4X4

// Keycode mappings for initial 4x4 keypad testing..

#define KEYPAD_ROWS         4
#define KEYPAD_COLS         4

#define KEY_RESET           1
#define KEY_FEEDHOLD        2
#define KEY_CYCLESTART      3
#define KEY_JOG_STEP_X1     12
#define KEY_JOG_STEP_X10    13
#define KEY_JOG_STEP_X100   14
#define KEY_JOG_STEP_SMOOTH 15
#define KEY_MPG_AXIS_X      23
#define KEY_MPG_AXIS_Y      24
#define KEY_MPG_AXIS_Z      25

#endif

#endif
```
